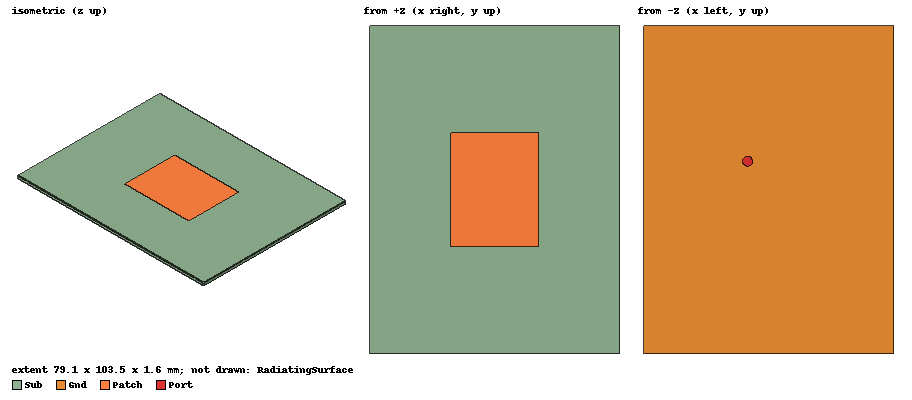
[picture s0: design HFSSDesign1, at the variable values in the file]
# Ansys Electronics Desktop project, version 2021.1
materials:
  vacuum: permittivity=1
  FR4_epoxy: permittivity=4.4 dielectric_loss_tangent=0.02
  pec: conductivity=1e+30

design HFSSDesign1 (HFSS, DrivenModal, model units mm)
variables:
  H = 1.6mm
  L0 = 27.84mm
  W0 = 35.72mm
  L1 = 6.68mm
  L2 = 8.96mm
  Ls = 79.1mm
  Ws = 103.5mm
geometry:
  Sub [FR4_epoxy] = box(corner=(-Ls/2, -Ws/2, 0mm), size=(Ls, Ws, H))
  Patch = rectangle(corner=(-L0/2, -W0/2, H), x_size=L0, y_size=W0)
  Gnd = rectangle(corner=(-Ls/2, -Ws/2, 0mm), x_size=Ls, y_size=Ws)
  Feed [pec] = cylinder(axis=Z, base_centre=(L1, L2, 0mm), radius=0.6mm, height=H)
  Port = circle(normal=Z, centre=(L1, L2, 0), radius=1.6mm)
  Port_1 = Port.copy()
  Gnd.subtract(Port_1)
  RadiatingSurface [vacuum] = region(absolute_offset=40.816327mm on all sides)
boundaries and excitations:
  PerfE1: Perfect E Objects=[Patch, Gnd]
  Open1: Radiation Objects=RadiatingSurface
  1: Lumped Port Objects=Port Modes{Mode1{IntLine{Feed.vertex(1 of 2) -> Port.vertex(1 of 1)} CharImp=Zpi RenormImp=50ohm}} Impedance=50ohm
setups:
  Setup1: HfssDriven MultipleAdaptiveFreqsSetup{AdaptAt{Frequency=2.45GHz Delta=0.02} AdaptAt{Frequency=5.5GHz Delta=0.02}} MaximumPasses=15 MinimumPasses=1 MinimumConvergedPasses=1 PercentRefinement=30 BasisOrder=1 PortAccuracy=2
    sweep Sweep: 1.45GHz to 7.3GHz step 0.01GHz; Type=Interpolating InterpTolerance=0.5 InterpMaxSolns=250 InterpUsePortImped=false PassivityErrorTolerance=0.0001
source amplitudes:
  1:1: 1W 0deg
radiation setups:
  3D: Infinite Sphere Theta=0deg..180deg step 2deg Phi=-180deg..180deg step 2deg
  Elevation: Infinite Sphere Theta=-180deg..180deg step 1deg Phi=0deg..90deg step 90deg
  Azimuth: Infinite Sphere Theta=90deg..90deg step 0deg Phi=-180deg..180deg step 1deg
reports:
  S Parameter Plot 1: dB(S(1,1)) vs Freq on Setup1 : Sweep
